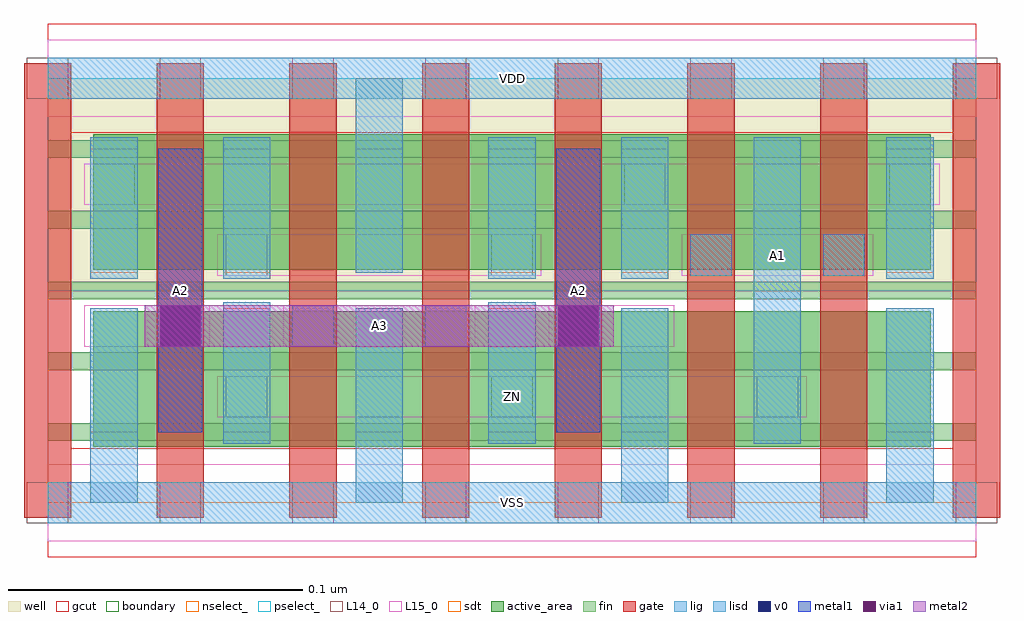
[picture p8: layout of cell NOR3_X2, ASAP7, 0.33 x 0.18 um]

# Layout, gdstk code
import gdstk
lib = gdstk.Library(unit=1e-6, precision=2.5e-10)
def R(c, l, rs):  # rectangles x0, y0, x1, y1
    for r in rs: c.add(gdstk.rectangle(r[:2], r[2:], *l))
def A(c, l, x, y, w, h, nx, ny, dx, dy):  # array of equal rectangles
    R(c, l, [(x+i*dx, y+j*dy, x+i*dx+w, y+j*dy+h) for i in range(nx) for j in range(ny)])
well = (1, 0)
fin = (2, 0)
gate = (7, 0)
gcut = (10, 0)
active_area = (11, 0)
nselect_ = (12, 0)
pselect_ = (13, 0)
L14_0 = (14, 0)
L15_0 = (15, 0)
lig = (16, 0)
lisd = (17, 0)
v0 = (18, 0)
metal1 = (19, 0)
metal2 = (20, 0)
via1 = (21, 0)
sdt = (88, 0)
boundary = (100, 0)

nor3_x2 = lib.new_cell('NOR3_X2')
R(nor3_x2, well, [(0,0.072,0.315,0.144)])
A(nor3_x2, fin, 0, 0.021, 0.315, 0.006, 1, 5, 0, 0.024)
A(nor3_x2, gate, -0.008, -0.005, 0.016, 0.154, 8, 1, 0.045, 0)
R(nor3_x2, gcut, [(0,-0.0185,0.315,0.0185), (-0.008,-0.005,0.008,0.149), (0.307,-0.005,0.323,0.149), (0,0.1255,0.315,0.1625)])
A(nor3_x2, active_area, 0.0155, 0.019, 0.059, 0.046, 6, 2, 0.045, 0.06)
R(nor3_x2, nselect_, [(0,0,0.315,0.072)])
R(nor3_x2, pselect_, [(0,0.072,0.315,0.144)])
A(nor3_x2, L14_0, -0.007, -0.007, 0.014, 0.014, 8, 2, 0.045, 0.144)
A(nor3_x2, L14_0, 0.0605, 0.029, 0.014, 0.014, 3, 1, 0.09, 0)
A(nor3_x2, L14_0, 0.038, 0.053, 0.014, 0.014, 4, 1, 0.045, 0)
R(nor3_x2, L14_0, [(0.0605,0.077,0.0745,0.091), (0.1505,0.077,0.1645,0.091), (0.218,0.077,0.232,0.091), (0.263,0.077,0.277,0.091), (0.0155,0.101,0.0295,0.115), (0.1955,0.101,0.2095,0.115), (0.2855,0.101,0.2995,0.115)])
R(nor3_x2, L15_0, [(0,-0.013,0.315,0.013), (0.0575,0.029,0.2575,0.043), (0.0125,0.053,0.055,0.067), (0.08,0.053,0.145,0.067), (0.17,0.053,0.2125,0.067), (0.0575,0.077,0.1675,0.091), (0.215,0.077,0.28,0.091), (0.0125,0.101,0.3025,0.115), (0,0.131,0.315,0.157)])
A(nor3_x2, lig, 0.038, 0.053, 0.014, 0.014, 4, 1, 0.045, 0)
R(nor3_x2, lig, [(0,-0.007,0.315,0.007), (0.218,0.077,0.232,0.091), (0.263,0.077,0.277,0.091), (0,0.137,0.315,0.151)])
R(nor3_x2, lisd, [(0.0145,0,0.0305,0.066), (0.1045,0,0.1205,0.066), (0.1045,0,0.1205,0.066), (0.1945,0,0.2105,0.066), (0.1945,0,0.2105,0.066), (0.2845,0,0.3005,0.066), (0.0595,0.02,0.0755,0.068), (0.0595,0.02,0.0755,0.068), (0.1495,0.02,0.1655,0.068), (0.1495,0.02,0.1655,0.068), (0.2395,0.02,0.2555,0.124), (0.2395,0.02,0.2555,0.124), (0.0145,0.076,0.0305,0.124), (0.0595,0.076,0.0755,0.124), (0.0595,0.076,0.0755,0.124), (0.1495,0.076,0.1655,0.124), (0.1495,0.076,0.1655,0.124), (0.1945,0.076,0.2105,0.124), (0.1945,0.076,0.2105,0.124), (0.2845,0.076,0.3005,0.124), (0.1045,0.078,0.1205,0.144), (0.1045,0.078,0.1205,0.144)])
R(nor3_x2, v0, [(0.038,0.053,0.052,0.067), (0.173,0.053,0.187,0.067)])
R(nor3_x2, metal1, [(0.0375,0.024,0.0525,0.12), (0.1725,0.024,0.1875,0.12)])
R(nor3_x2, metal2, [(0.033,0.053,0.192,0.067)])
R(nor3_x2, via1, [(0.038,0.053,0.052,0.067), (0.173,0.053,0.187,0.067)])
R(nor3_x2, sdt, [(0.2395,0.02,0.2555,0.124), (0.2395,0.02,0.2555,0.124), (0.0145,0.024,0.0305,0.066), (0.0595,0.024,0.0755,0.066), (0.0595,0.024,0.0755,0.066), (0.1045,0.024,0.1205,0.066), (0.1045,0.024,0.1205,0.066), (0.1495,0.024,0.1655,0.066), (0.1495,0.024,0.1655,0.066), (0.1945,0.024,0.2105,0.066), (0.1945,0.024,0.2105,0.066), (0.2845,0.024,0.3005,0.066), (0.0145,0.078,0.0305,0.12), (0.0595,0.078,0.0755,0.12), (0.0595,0.078,0.0755,0.12), (0.1045,0.078,0.1205,0.12), (0.1045,0.078,0.1205,0.12), (0.1495,0.078,0.1655,0.12), (0.1495,0.078,0.1655,0.12), (0.1945,0.078,0.2105,0.12), (0.1945,0.078,0.2105,0.12), (0.2845,0.078,0.3005,0.12)])
R(nor3_x2, boundary, [(0,0,0.315,0.144)])
nor3_x2.add(gdstk.Label('VDD', (0.1575,0.144), layer=1, texttype=251))
nor3_x2.add(gdstk.Label('VSS', (0.1575,0), layer=3, texttype=251))
nor3_x2.add(gdstk.Label('A3', (0.1125,0.06), layer=15, texttype=251))
nor3_x2.add(gdstk.Label('ZN', (0.1575,0.036), layer=15, texttype=251))
nor3_x2.add(gdstk.Label('A1', (0.2475,0.084), layer=15, texttype=251))
nor3_x2.add(gdstk.Label('VSS', (0.1575,0), layer=15, texttype=251))
nor3_x2.add(gdstk.Label('VDD', (0.1575,0.144), layer=15, texttype=251))
nor3_x2.add(gdstk.Label('A2', (0.045,0.072), layer=19, texttype=251))
nor3_x2.add(gdstk.Label('A2', (0.18,0.072), layer=19, texttype=251))
nor3_x2.add(gdstk.Label('A2', (0.1125,0.06), layer=20, texttype=251))

lib.write_gds('NOR3_X2.gds')
